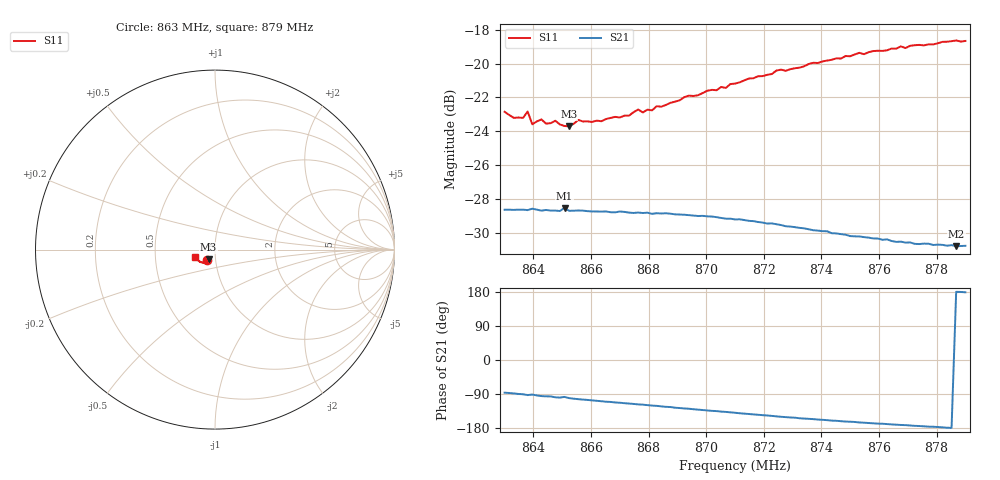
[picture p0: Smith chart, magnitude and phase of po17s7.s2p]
# HZ S RI R 50
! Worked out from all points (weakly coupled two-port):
!   101 points, 863 MHz to 879 MHz, reference 50 ohm
!   highest |S21| = -28.53 dB at 865.08 MHz (marker M1); lowest = -30.8 dB at 878.68 MHz (marker M2)
!   lowest |S11| = -23.7 dB at 865.24 MHz (marker M3), VSWR 1.14, Z = 46.3 - j5.1 ohm
!   |S11| at or under -10 dB: start of sweep to end of sweep
!   S12 and S22 are empty: the file has one direction only
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8.63e8  -0.0463 -0.0552  0.00246 -0.0369  0 0  0 0
8.6332e8  -0.0437 -0.0535  0.00115 -0.0369  0 0  0 0
8.6364e8  -0.0438 -0.0534  -0.000245 -0.037  0 0  0 0
8.638e8  -0.0473 -0.0546  -0.00169 -0.0369  0 0  0 0
8.6396e8  -0.0384 -0.0539  -0.000799 -0.0373  0 0  0 0
8.6428e8  -0.0407 -0.055  -0.00335 -0.0366  0 0  0 0
8.6444e8  -0.0397 -0.0533  -0.00381 -0.0367  0 0  0 0
8.6476e8  -0.0384 -0.0559  -0.00543 -0.0364  0 0  0 0
8.6508e8  -0.0331 -0.0564  -0.00484 -0.0372  0 0  0 0
8.6524e8  -0.0355 -0.0548  -0.00675 -0.0361  0 0  0 0
8.6556e8  -0.0384 -0.0563  -0.00853 -0.0358  0 0  0 0
8.6572e8  -0.0349 -0.0577  -0.00919 -0.0356  0 0  0 0
8.6636e8  -0.0351 -0.0577  -0.0118 -0.0346  0 0  0 0
8.6732e8  -0.0348 -0.0609  -0.0153 -0.0329  0 0  0 0
8.6764e8  -0.0358 -0.0638  -0.0166 -0.0323  0 0  0 0
8.678e8  -0.0357 -0.0622  -0.0169 -0.032  0 0  0 0
8.6844e8  -0.0364 -0.0651  -0.0193 -0.0305  0 0  0 0
8.71e8  -0.0482 -0.0728  -0.0262 -0.0226  0 0  0 0
8.7372e8  -0.0683 -0.0738  -0.0294 -0.0131  0 0  0 0
8.7644e8  -0.0919 -0.0619  -0.0295 -0.00519  0 0  0 0
8.7868e8  -0.1091 -0.0424  -0.0289 4e-06  0 0  0 0
8.79e8  -0.1101 -0.0387  -0.0289 0.000674  0 0  0 0
